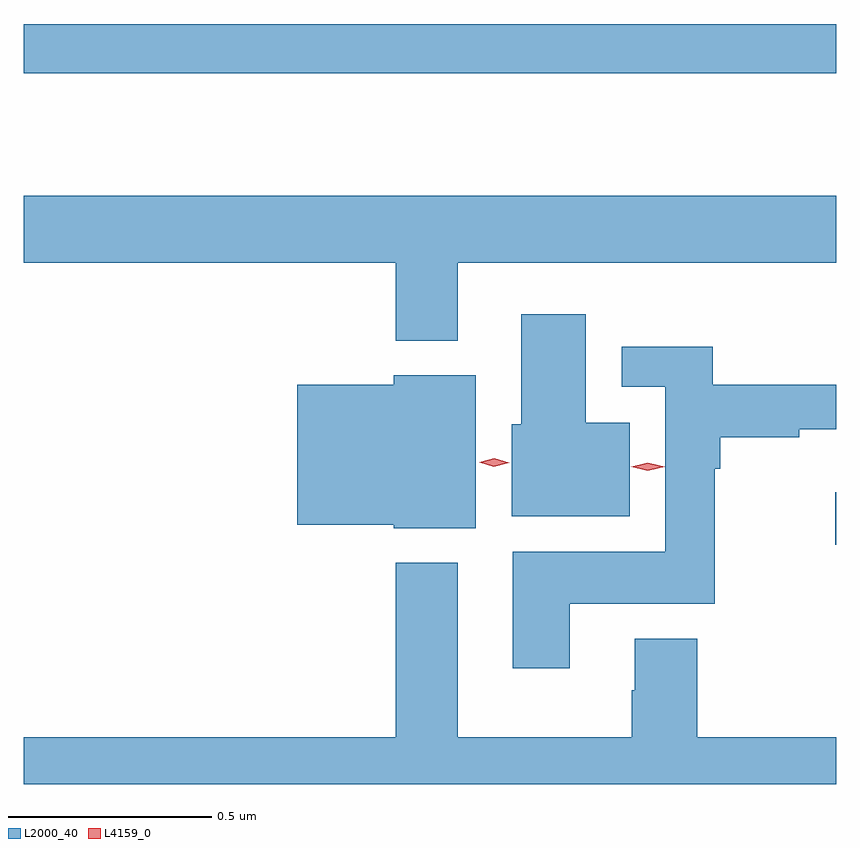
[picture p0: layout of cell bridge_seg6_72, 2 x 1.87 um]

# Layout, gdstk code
import gdstk
lib = gdstk.Library(unit=1e-6, precision=1e-09)
def R(c, l, rs):  # rectangles x0, y0, x1, y1
    for r in rs: c.add(gdstk.rectangle(r[:2], r[2:], *l))
def P(c, l, *ps):  # polygons
    for p in ps: c.add(gdstk.Polygon(p, *l))
L2000_40 = (2000, 40)
L4159_0 = (4159, 0)

bridge_seg6_72 = lib.new_cell('bridge_seg6_72')
R(bridge_seg6_72, L2000_40, [(865.08,962.626,865.083,962.755), (863.083,963.786,865.083,963.907)])
P(bridge_seg6_72, L2000_40, [(864.151,963.32),(865.083,963.32),(865.083,963.484),(863.083,963.484),(863.083,963.32),(863.999,963.32),(863.999,963.128),(864.151,963.128)],
  [(864.574,962.926),(864.466,962.926),(864.466,963.193),(864.308,963.193),(864.308,962.922),(864.284,962.922),(864.284,962.696),(864.574,962.696)],
  [(864.427,962.48),(864.784,962.48),(864.784,962.813),(864.797,962.813),(864.797,962.89),(864.992,962.89),(864.992,962.91),(865.083,962.91),(865.083,963.019),(864.779,963.019),(864.779,963.113),(864.555,963.113),(864.555,963.015),(864.662,963.015),(864.662,962.608),(864.287,962.608),(864.287,962.322),(864.427,962.322)],
  [(864.196,963.043),(863.994,963.043),(863.994,963.019),(863.756,963.019),(863.756,962.675),(863.994,962.675),(863.994,962.666),(864.196,962.666)],
  [(865.083,962.152),(864.74,962.152),(864.74,962.395),(864.587,962.395),(864.587,962.268),(864.58,962.268),(864.58,962.152),(864.151,962.152),(864.151,962.581),(863.999,962.581),(863.999,962.152),(863.083,962.152),(863.083,962.037),(865.083,962.037)])
P(bridge_seg6_72, L4159_0, [(864.619,962.808),(864.578,962.817),(864.578,962.817),(864.578,962.817),(864.619,962.828),(864.66,962.818),(864.661,962.818),(864.66,962.818)],
  [(864.24,962.818),(864.204,962.829),(864.203,962.829),(864.204,962.829),(864.241,962.838),(864.278,962.828),(864.278,962.828),(864.278,962.828)])

lib.write_gds('bridge_seg6_72.gds')
